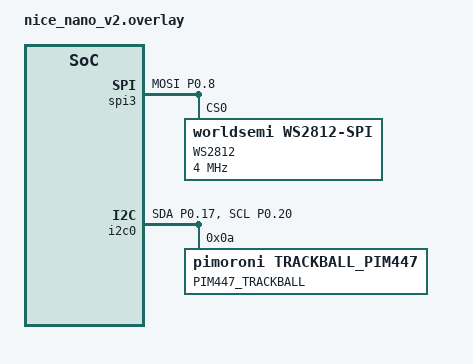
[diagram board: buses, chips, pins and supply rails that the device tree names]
&pinctrl {
    spi3_default: spi3_default {
        group1 {
            psels = <NRF_PSEL(SPIM_MOSI, 0, 8)>;
        };
    };
    spi3_sleep: spi3_sleep {
        group1 {
            psels = <NRF_PSEL(SPIM_MOSI, 0, 8)>;
            low-power-enable;
        };
    };

    i2c0_default: i2c0_default {
        group1 {
            psels = <NRF_PSEL(TWIM_SDA, 0, 17)>,
                   <NRF_PSEL(TWIM_SCL, 0, 20)>;
        };
    };
    i2c0_sleep: i2c0_sleep {
        group1 {
            psels = <NRF_PSEL(TWIM_SDA, 0, 17)>,
                   <NRF_PSEL(TWIM_SCL, 0, 20)>;
            low-power-enable;
        };
    };
};

&spi3 {
    compatible = "nordic,nrf-spim";
    status = "okay";
    pinctrl-0 = <&spi3_default>;
    pinctrl-1 = <&spi3_sleep>;
    pinctrl-names = "default", "sleep";

    led_strip: ws2812@0 {
        compatible = "worldsemi,ws2812-spi";
        label = "WS2812";
        reg = <0>;
        spi-max-frequency = <4000000>;
        chain-length = <29>;
        spi-one-frame = <0x70>;
        spi-zero-frame = <0x40>;
        color-mapping = <LED_COLOR_ID_GREEN
                         LED_COLOR_ID_RED
                         LED_COLOR_ID_BLUE>;
    };
};

&i2c0 {
    compatible = "nordic,nrf-twi";
    status = "okay";
    pinctrl-0 = <&i2c0_default>;
    pinctrl-1 = <&i2c0_sleep>;
    pinctrl-names = "default", "sleep";

    pim447_trackball@a {
        compatible = "pimoroni,trackball_pim447";
        reg = <0xa>;
        label = "PIM447_TRACKBALL";
    };
};

/ {
    chosen {
        zmk,underglow = &led_strip;
    };
};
